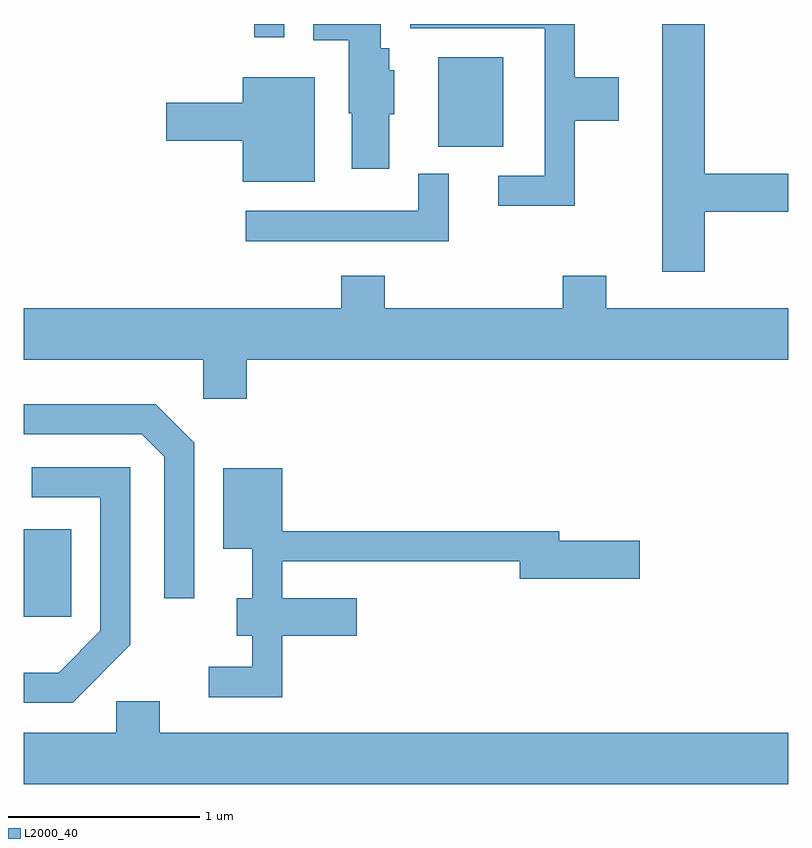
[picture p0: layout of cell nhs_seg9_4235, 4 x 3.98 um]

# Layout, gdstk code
import gdstk
lib = gdstk.Library(unit=1e-6, precision=1e-09)
def R(c, l, rs):  # rectangles x0, y0, x1, y1
    for r in rs: c.add(gdstk.rectangle(r[:2], r[2:], *l))
def P(c, l, *ps):  # polygons
    for p in ps: c.add(gdstk.Polygon(p, *l))
L2000_40 = (2000, 40)

nhs_seg9_4235 = lib.new_cell('nhs_seg9_4235')
R(nhs_seg9_4235, L2000_40, [(309.611,2019.331,309.859,2019.789), (311.781,2021.791,312.119,2022.259), (310.816,2022.363,310.974,2022.432)])
P(nhs_seg9_4235, L2000_40, [(313.174,2021.451),(313.611,2021.451),(313.611,2021.649),(313.174,2021.649),(313.174,2022.432),(312.951,2022.432),(312.951,2021.136),(313.174,2021.136)],
  [(311.524,2021.961),(311.549,2021.961),(311.549,2022.189),(311.524,2022.189),(311.524,2022.304),(311.479,2022.304),(311.479,2022.432),(311.126,2022.432),(311.126,2022.346),(311.311,2022.346),(311.311,2021.965),(311.326,2021.965),(311.326,2021.676),(311.524,2021.676)],
  [(312.494,2021.926),(312.724,2021.926),(312.724,2022.154),(312.494,2022.154),(312.494,2022.432),(311.633,2022.432),(311.633,2022.411),(312.336,2022.411),(312.336,2021.639),(312.093,2021.639),(312.093,2021.481),(312.494,2021.481)],
  [(311.134,2022.154),(310.756,2022.154),(310.756,2022.019),(310.356,2022.019),(310.356,2021.821),(310.756,2021.821),(310.756,2021.606),(311.134,2021.606)],
  [(311.834,2021.648),(311.676,2021.648),(311.676,2021.454),(310.773,2021.454),(310.773,2021.296),(311.834,2021.296)],
  [(310.779,2020.676),(313.611,2020.676),(313.611,2020.944),(312.659,2020.944),(312.659,2021.114),(312.431,2021.114),(312.431,2020.944),(311.499,2020.944),(311.499,2021.114),(311.271,2021.114),(311.271,2020.944),(309.611,2020.944),(309.611,2020.676),(310.551,2020.676),(310.551,2020.471),(310.779,2020.471)],
  [(310.504,2020.242),(310.302,2020.444),(309.611,2020.444),(309.611,2020.286),(310.229,2020.286),(310.346,2020.169),(310.346,2019.428),(310.504,2019.428)],
  [(310.169,2019.184),(310.169,2020.114),(309.653,2020.114),(309.653,2019.956),(310.011,2019.956),(310.011,2019.257),(309.794,2019.039),(309.611,2019.039),(309.611,2018.881),(309.867,2018.881)],
  [(310.964,2019.231),(311.354,2019.231),(311.354,2019.429),(310.964,2019.429),(310.964,2019.621),(312.206,2019.621),(312.206,2019.531),(312.834,2019.531),(312.834,2019.729),(312.414,2019.729),(312.414,2019.779),(310.964,2019.779),(310.964,2020.109),(310.656,2020.109),(310.656,2019.686),(310.806,2019.686),(310.806,2019.429),(310.726,2019.429),(310.726,2019.231),(310.806,2019.231),(310.806,2019.069),(310.578,2019.069),(310.578,2018.911),(310.964,2018.911)],
  [(313.611,2018.724),(310.324,2018.724),(310.324,2018.889),(310.096,2018.889),(310.096,2018.724),(309.611,2018.724),(309.611,2018.456),(313.611,2018.456)])

lib.write_gds('nhs_seg9_4235.gds')
